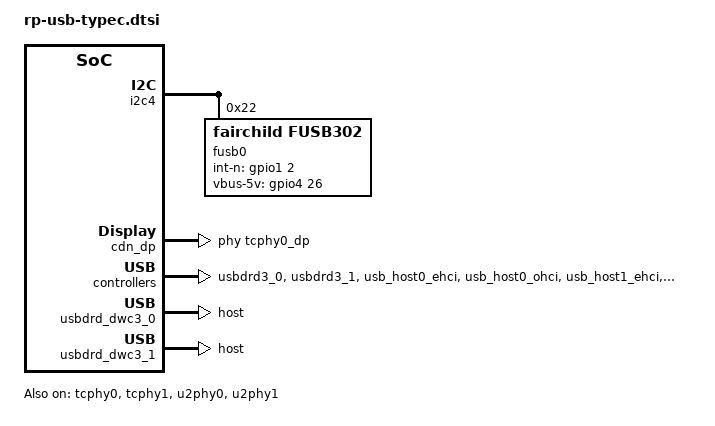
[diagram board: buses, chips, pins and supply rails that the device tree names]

&i2c4 {
        fusb0: fusb30x@22 {
                compatible = "fairchild,fusb302";
                reg = <0x22>;
                pinctrl-names = "default";
                pinctrl-0 = <&fusb0_int>;
                int-n-gpios = <&gpio1 2 GPIO_ACTIVE_HIGH>;
                vbus-5v-gpios = <&gpio4 26 GPIO_ACTIVE_HIGH>;
                status = "okay";
        };
};


&cdn_dp {
        status = "okay";
        extcon = <&fusb0>;
        phys = <&tcphy0_dp>;
};

&tcphy0 {
        extcon = <&fusb0>;
        status = "okay";
};

&tcphy1 {
        status = "okay";
};

&u2phy0 {
        status = "okay";
        extcon = <&fusb0>;

        u2phy0_otg: otg-port {
                status = "okay";
        };

        u2phy0_host: host-port {
                status = "okay";
        };
};

&u2phy1 {
        status = "okay";

        u2phy1_otg: otg-port {
                status = "okay";
        };

        u2phy1_host: host-port {
                status = "okay";
        };
};


&usbdrd3_0 {
        status = "okay";
        extcon = <&fusb0>;
};

&usbdrd3_1 {
        status = "okay";
};

&usbdrd_dwc3_0 {
        status = "okay";
	dr_mode = "host";
};

&usbdrd_dwc3_1 {
        status = "okay";
        dr_mode = "host";
};

&usb_host0_ehci {
        status = "okay";
};

&usb_host0_ohci {
        status = "okay";
};

&usb_host1_ehci {
        status = "okay";
};

&usb_host1_ohci {
        status = "okay";
};

&pinctrl {
        fusb30x {
                fusb0_int: fusb0-int {
                        rockchip,pins = <1 2 RK_FUNC_GPIO &pcfg_pull_up>;
                };
        };
};


